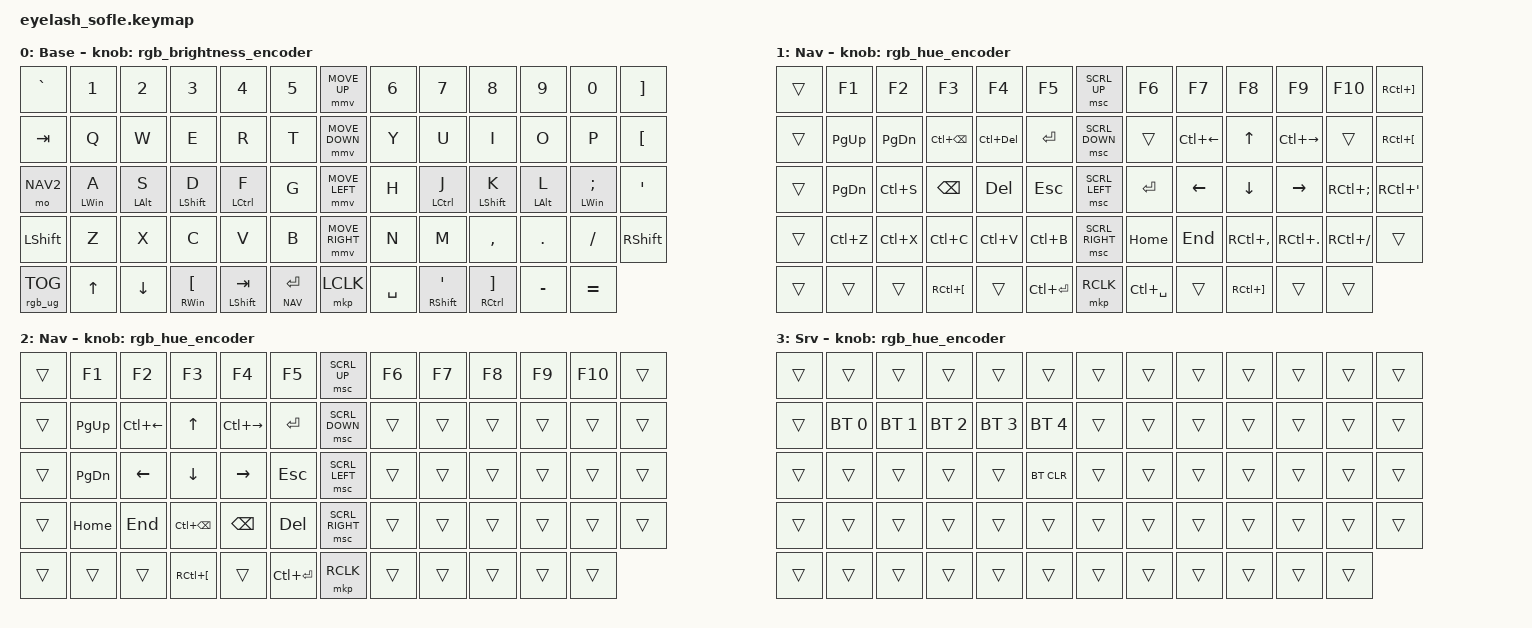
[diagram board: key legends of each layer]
#define ZMK_POINTING_DEFAULT_MOVE_VAL 1200  // 600
#define ZMK_POINTING_DEFAULT_SCRL_VAL 25   // 10
#define ___ &trans
#define BASE 0
#define NAV 1
#define NAV2 2
#define SRV 3

#include <input/processors.dtsi>
#include <zephyr/dt-bindings/input/input-event-codes.h>
#include <behaviors.dtsi>
#include <dt-bindings/zmk/bt.h>
#include <dt-bindings/zmk/ext_power.h>
#include <dt-bindings/zmk/keys.h>
#include <dt-bindings/zmk/pointing.h>
#include <dt-bindings/zmk/rgb.h>
#include <dt-bindings/zmk/outputs.h>


&mmv_input_listener { input-processors = <&zip_xy_scaler 2 1>; };

&msc_input_listener { input-processors = <&zip_scroll_scaler 2 1>; };

&msc {
    acceleration-exponent = <1>;      // 0
    time-to-max-speed-ms = <700>;     // 300
    delay-ms = <0>;                   // 0
};

&mmv {
    time-to-max-speed-ms = <700>;
    acceleration-exponent = <2>;
    trigger-period-ms = <8>;
};


/ {
    rgb_brightness_encoder: rgb_brightness_encoder {
        compatible = "zmk,behavior-sensor-rotate";
        #sensor-binding-cells = <0>;
        bindings = <&rgb_ug RGB_BRI>, <&rgb_ug RGB_BRD>;
    };
    rgb_hue_encoder: rgb_hue_encoder {
        compatible = "zmk,behavior-sensor-rotate";
        #sensor-binding-cells = <0>;
        bindings = <&rgb_ug RGB_HUI>, <&rgb_ug RGB_HUD>;
    };

    macros {
        /* #include "macros.dtsi" */

        #define MACRO(NAME, BINDINGS) \
          macro_##NAME: macro_##NAME { \
              compatible = "zmk,behavior-macro"; \
              #binding-cells = <0>; \
              wait-ms = <0>; \
              tap-ms = <10>; \
              bindings = <BINDINGS>; \
          };

        // MACRO(c_able    , &kp A &kp B &kp L &kp E)
        // MACRO(c_ance    , &kp A &kp N &kp C &kp E)
        // MACRO(c_ate     , &kp A &kp T &kp E)
        // MACRO(c_age     , &kp A &kp G &kp E)
        // MACRO(c_macro   , &kp M &kp A &kp C &kp R &kp O)
        // MACRO(c_anti    , &kp A &kp N &kp T &kp I)
        // MACRO(c_auto    , &kp A &kp U &kp T &kp O)
        // MACRO(c_ible    , &kp I &kp B &kp L &kp E)
        // MACRO(c_circum  , &kp C &kp I &kp R &kp C &kp U &kp M)
        // MACRO(c_com     , &kp C &kp O &kp M)
        // MACRO(c_con     , &kp C &kp O &kp N)
        // MACRO(c_contra  , &kp C &kp O &kp N &kp T &kp R &kp A)
        // MACRO(c_hood    , &kp H &kp O &kp O &kp D)
        // MACRO(c_dis     , &kp D &kp I &kp S)
        // MACRO(c_ward    , &kp W &kp A &kp R &kp D)
        // MACRO(c_extra   , &kp E &kp X &kp T &kp R &kp A)
        // MACRO(c_hetero  , &kp H &kp E &kp T &kp E &kp R &kp O)
        // MACRO(c_ize     , &kp I &kp Z &kp E)
        // MACRO(c_ence    , &kp E &kp N &kp C &kp E)
        // MACRO(c_pre     , &kp P &kp R &kp E)
        // MACRO(c_ery     , &kp E &kp R &kp Y)
        // MACRO(c_ise     , &kp I &kp S &kp E)
        // MACRO(c_tele    , &kp T &kp E &kp L &kp E)
        // MACRO(c_wise    , &kp W &kp I &kp S &kp E)
        MACRO(c_the     , &kp T &kp H &kp E &kp SPACE)
        // MACRO(c_ful     , &kp F &kp U &kp L)
        MACRO(c_for     , &kp F &kp O &kp R &kp SPACE)
        MACRO(c_ing     , &kp I &kp N &kp G &kp SPACE)
        // MACRO(c_homo    , &kp H &kp O &kp M &kp O)
        // MACRO(c_hyper   , &kp H &kp Y &kp P &kp E &kp R)
        // MACRO(c_micro   , &kp M &kp I &kp C &kp R &kp O)
        // MACRO(c_inter   , &kp I &kp N &kp T &kp E &kp R)
        // MACRO(c_intro   , &kp I &kp N &kp T &kp R &kp O)
        // MACRO(c_ist     , &kp I &kp S &kp T)
        // MACRO(c_ity     , &kp I &kp T &kp Y)
        // MACRO(c_ive     , &kp I &kp V &kp E)
        // MACRO(c_less    , &kp L &kp E &kp S &kp S)
        // MACRO(c_mono    , &kp M &kp O &kp N &kp O)
        // MACRO(c_ment    , &kp M &kp E &kp N &kp T)
        // MACRO(c_sym     , &kp S &kp Y &kp M)
        // MACRO(c_omni    , &kp O &kp M &kp N &kp I)
        // MACRO(c_sion    , &kp S &kp I &kp O &kp N)
        // MACRO(c_tion    , &kp T &kp I &kp O &kp N)
        // MACRO(c_uni     , &kp U &kp N &kp I)
        // MACRO(c_pro     , &kp P &kp R &kp O)
        // MACRO(c_ous     , &kp O &kp U &kp S)
        // MACRO(c_ship    , &kp S &kp H &kp I &kp P)
        // MACRO(c_post    , &kp P &kp O &kp S &kp T)
        // MACRO(c_trans   , &kp T &kp R &kp A &kp N &kp S)
        // MACRO(c_ure     , &kp U &kp R &kp E)
        // MACRO(c_sub     , &kp S &kp U &kp B)
        // MACRO(c_syn     , &kp S &kp Y &kp N)

        nav_ctrl_alt: nav_ctrl_alt {
            compatible = "zmk,behavior-macro";
            #binding-cells = <0>;
            wait-ms = <0>;
            tap-ms = <0>;
            bindings
                = <&macro_press &mo NAV &kp LCTRL &kp LALT>
                , <&macro_pause_for_release>
                , <&macro_release &mo NAV &kp LCTRL &kp LALT>
                ;
        };
    };

    behaviors {
        // there's also mod-tap &mt
        // also see: https://zmk.dev/docs/keymaps/behaviors/hold-tap?examples=home_row_mods
        hm: homerow_mods {
          compatible = "zmk,behavior-hold-tap";
          label = "HOMEROW_MODS";
          bindings = <&kp>, <&kp>;
          #binding-cells = <2>;
          tapping-term-ms = <200>;
          quick-tap-ms = <180>;
          flavor = "balanced";
          // flavor = "tap-preferred";
        };
        hml: home_row_mod_left {
            compatible = "zmk,behavior-hold-tap";
            #binding-cells = <2>;
            flavor = "balanced";
            require-prior-idle-ms = <150>;
            tapping-term-ms = <280>;
            quick-tap-ms = <175>;
            bindings = <&kp>, <&kp>;
            hold-trigger-key-positions = <
                7 8 9 10 11 12          // right number row
                20 21 22 23 24 25       // right top row
                33 34 35 36 37 38       // right home row
                46 47 48 49 50 51       // right bottom row
                59 60 61 62 63          // right thumb keys
                53 54 55 56 57          // left thumb keys
            >;
            hold-trigger-on-release;
        };
        hmlc: home_row_mod_left_ctrl {
            compatible = "zmk,behavior-hold-tap";
            #binding-cells = <2>;
            flavor = "balanced";
            require-prior-idle-ms = <150>;
            tapping-term-ms = <280>;
            quick-tap-ms = <175>;
            bindings = <&kp>, <&kp>;
            hold-trigger-key-positions = <
                7 8 9 10 11 12             // right number row
                14 20 21 22 23 24 25       // right top row + w
                27 33 34 35 36 37 38       // right home row + s
                40 41 42 46 47 48 49 50 51 // right bottom row + zxc
                59 60 61 62 63             // right thumb keys
                53 54 55 56 57             // left thumb keys
            >;
            hold-trigger-on-release;
        };
        hmr: home_row_mod_right {
            compatible = "zmk,behavior-hold-tap";
            #binding-cells = <2>;
            flavor = "balanced";
            require-prior-idle-ms = <150>;
            tapping-term-ms = <280>;
            quick-tap-ms = <175>;
            bindings = <&kp>, <&kp>;
            hold-trigger-key-positions = <
                0 1 2 3 4 5            // left number row
                13 14 15 16 17 18      // left top row
                26 27 28 29 30 31      // left home row
                39 40 41 42 43 44      // left bottom row
                53 54 55 56 57         // left thumb keys
                59 60 61 62 63         // right thumb keys
            >;
            hold-trigger-on-release;
        };
          
        // layer-tap q?? there's a standard &lt, do I need my own?
        ltq: ltq {
            compatible = "zmk,behavior-hold-tap";
            label = "LTQ";
            bindings = <&mo>, <&kp>;

            #binding-cells = <2>;
            tapping-term-ms = <200>;
            quick-tap-ms = <180>;
        };

        scroll_encoder: scroll_encoder {
            compatible = "zmk,behavior-sensor-rotate";
            #sensor-binding-cells = <0>;
            bindings = <&msc SCRL_UP>, <&msc SCRL_DOWN>;
            tap-ms = <100>;
        };
    };

    combos {
        compatible = "zmk,combos";
        #include "key_labels.dtsi"
        /* #include "combos.dtsi" */

        /*                          60 KEY MATRIX / LAYOUT MAPPING
        ╭────────────────────────────╮              ╭────╮      ╭────────────────────────────╮
        │  0   1   2   3   4   5     │          ╭───╯  6 ╰───╮  │      7   8   9  10  11  12 │
        │ 13  14  15  16  17  18     │  ╭────╮  │ 32  58  45 │  │     20  21  22  23  24  25 │
        │ 26  27  28  29  30  31     │  │ 52 │  ╰───╮ 19 ╭───╯  │     33  34  35  36  37  38 │
        │ 39  40  41  42  43  44     │  ╰────╯      ╰────╯      │     46  47  48  49  50  51 │
        ╰───────╮ 53  54  55  56  57 │                          │ 59  60  61  62  63 ╭───────╯
                ╰────────────────────╯                          ╰────────────────────╯

        ╭────────────────────────────╮              ╭─────╮     ╭─────────────────────────────╮
        │ LN5 LN4 LN3 LN2 LN1 LN0    │          ╭───╯ JS0 ╰───╮ │     RN0 RN1 RN2 RN3 RN4 RN5 │
        │ LT5 LT4 LT3 LT2 LT1 LT0    │ ╭─────╮  │ JS1 JS2 JS3 │ │     RT0 RT1 RT2 RT3 RT4 RT5 │
        │ LM5 LM4 LM3 LM2 LM1 LM0    │ │ LEC │  ╰───╮ JS4 ╭───╯ │     RM0 RM1 RM2 RM3 RM4 RM5 │
        │ LB5 LB4 LB3 LB2 LB1 LB0    │ ╰─────╯      ╰─────╯     │     RB0 RB1 RB2 RB3 RB4 RB5 │
        ╰───────╮ LH4 LH3 LH2 LH1 LH0│                          │ RH0 RH1 RH2 RH3 RH4 ╭───────╯
                ╰────────────────────╯                          ╰─────────────────────╯
        */
        #define LCOMBO(NAME, BINDINGS, KEYPOS, LAYER) \
          combo_##NAME##LAYER { \
            timeout-ms = <100>; \
            bindings = <BINDINGS>; \
            key-positions = <KEYPOS>; \
            layers = <LAYER>; \
          };

        #define COMBO(NAME, BINDINGS, KEYPOS) \
          combo_##NAME { \
            timeout-ms = <100>; \
            bindings = <BINDINGS>; \
            key-positions = <KEYPOS>; \
            layers = <BASE>; \
          };

        /* Only vertical adjacent key pairs are used since horizontal adjacent pairs interfere with rollups. */

        /* Main layer */
        COMBO(glt4,        &kp N1,         GLT4)
        COMBO(glt3,        &kp N2,         GLT3)
        COMBO(glt2,        &kp N3,         GLT2)
        COMBO(glt1,        &kp N4,         GLT1)
        COMBO(glt0,        &kp N5,         GLT0)

        COMBO(grt0,        &kp N6,         GRT0)
        COMBO(grt1,        &kp N7,         GRT1)
        COMBO(grt2,        &kp N8,         GRT2)
        COMBO(grt3,        &kp N9,         GRT3)
        COMBO(grt4,        &kp N0,         GRT4)

        COMBO(glb4,        &kp BSLH,       GLB4)
        COMBO(glb3,        &kp PLUS,       GLB3)
        COMBO(glb2,        &kp LBKT,       GLB2)
        COMBO(glb1,        &kp RBKT,       GLB1)
        COMBO(glb0,        &kp UNDER,      GLB0)

        COMBO(grb0,        &kp GRAVE,      GRB0)
        COMBO(grb1,        &kp MINUS,      GRB1)
        COMBO(grb2,        &kp EQUAL,      GRB2)
        COMBO(grb3,        &mkp MB4,       GRB3) // mouse back
        COMBO(grb4,        &mkp MB5,       GRB4) // mouse forward

        COMBO(l_srv,      &mo SRV,        LH0 RH0)
        COMBO(ralt1,      &kp RALT,       RH0 RH2)
        COMBO(ralt2,      &kp RALT,       LH0 LH2)

        COMBO(cm_left,    &nav_ctrl_alt,  LH1 LH2)
        COMBO(cm_right,   &nav_ctrl_alt,  RH1 RH2)

        /* Navigation layer */
        /* Here it's safe to use horizontal pairs, but not on the home row. */
        LCOMBO(nmb4,         &mkp MB4,    LM0 LM1, NAV)
        LCOMBO(nmb5,         &mkp MB5,    LT0 LT1, NAV)

        LCOMBO(nmb1,         &mkp MB1,    RM0 RM1, NAV)
        LCOMBO(nmb2,         &mkp MB2,    RT0 RT1, NAV)
        LCOMBO(nmb3,         &mkp MB3,    RB0 RB1, NAV)

        LCOMBO(nglt4,        &kp F1,      GLT4, NAV)
        LCOMBO(nglt3,        &kp F2,      GLT3, NAV)
        LCOMBO(nglt2,        &kp F3,      GLT2, NAV)
        LCOMBO(nglt1,        &kp F4,      GLT1, NAV)
        LCOMBO(nglt0,        &kp F5,      GLT0, NAV)

        LCOMBO(ngrt0,        &kp F6,      GRT0, NAV)
        LCOMBO(ngrt1,        &kp F7,      GRT1, NAV)
        LCOMBO(ngrt2,        &kp F8,      GRT2, NAV)
        LCOMBO(ngrt3,        &kp F9,      GRT3, NAV)
        LCOMBO(ngrt4,        &kp F10,     GRT4, NAV)

        // LCOMBO(ins,       &kp INSERT,     GLB4, NAV)
        // LCOMBO(,     &kp PSCRN,   GLB3,   NAV)
        LCOMBO(scrolllock,   &kp SCROLLLOCK, GLB2, NAV)
        LCOMBO(insert,       &kp INSERT,     GLB1, NAV)
        LCOMBO(pscrn,        &kp PSCRN,      GLB0, NAV)

        // LCOMBO(f6,        &kp F6,          GRB0, NAV)
        LCOMBO(ngrb1,        &kp RC(MINUS),   GRB1, NAV)
        // LCOMBO(f8,        &kp F8,          GRB2, NAV)
        // LCOMBO(ngrb3,     &kp F9,          GRB3, NAV)
        // LCOMBO(ngrb4,     &kp F10,         GRB4, NAV)

        // LCOMBO(mb_mdl,    &mkp MB3,       GRB0, NAV)
        // LCOMBO(minus,     &kp RC(MINUS),  GRB1, NAV)
        // LCOMBO(equal,     &kp RC(EQUAL),  GRB2, NAV)
        // LCOMBO(mb_back,   &mkp MB4,       GRB3, NAV)
        // LCOMBO(mb_fwd,    &mkp MB5,       GRB4, NAV)

        LCOMBO(l_srv2,    &mo SRV,        LH0 RH0, NAV)

        /* /\* Word shortcuts: English prefixes and suffixes*\/ */
        /* COMBO(c_able    , &macro_c_able    , RH0 LM4 LB0)  // ab */
        /* COMBO(c_ance    , &macro_c_ance    , RH0 LM4 LB2)  // ac */
        /* COMBO(c_ate     , &macro_c_ate     , RH0 LM4 LT2)  // ae */
        /* COMBO(c_age     , &macro_c_age     , RH0 LM4 LM0)  // ag */
        /* COMBO(c_macro   , &macro_c_macro   , RH0 LM4 RB1)  // am */
        /* COMBO(c_anti    , &macro_c_anti    , RH0 LM4 LT0)  // at */
        /* COMBO(c_auto    , &macro_c_auto    , RH0 LM4 RT1)  // au */
        /* COMBO(c_ible    , &macro_c_ible    , RH0 LB0 RT2)  // bi */
        /* COMBO(c_circum  , &macro_c_circum  , RH0 LB2 RT2)  // ci */
        /* COMBO(c_com     , &macro_c_com     , RH0 LB2 RB1)  // cm */
        /* COMBO(c_con     , &macro_c_con     , RH0 LB2 RB0)  // cn */
        /* COMBO(c_contra  , &macro_c_contra  , RH0 LB2 LT0)  // ct */
        /* COMBO(c_hood    , &macro_c_hood    , RH0 LM2 RM0)  // dh */
        /* COMBO(c_dis     , &macro_c_dis     , RH0 LM2 RT2)  // di */
        /* COMBO(c_ward    , &macro_c_ward    , RH0 LM2 LT3)  // dw */
        /* COMBO(c_extra   , &macro_c_extra   , RH0 LM2 LB3)  // dx */
        /* COMBO(c_hetero  , &macro_c_hetero  , RH0 LT2 RM0)  // eh */
        /* COMBO(c_ize     , &macro_c_ize     , RH0 LT2 RT2)  // ei */
        /* COMBO(c_ence    , &macro_c_ence    , RH0 LT2 RB0)  // en */
        /* COMBO(c_pre     , &macro_c_pre     , RH0 LT2 RT4)  // ep */
        /* COMBO(c_ery     , &macro_c_ery     , RH0 LT2 LT1)  // er */
        /* COMBO(c_ise     , &macro_c_ise     , RH0 LT2 LM3)  // es */
        /* COMBO(c_tele    , &macro_c_tele    , RH0 LT2 LT0)  // et */
        /* COMBO(c_wise    , &macro_c_wise    , RH0 LT2 LT3)  // ew */
        COMBO(c_the     , &macro_c_the     , LH2 LB4)  // z
        /* COMBO(c_ful     , &macro_c_ful     , RH0 LM1 RM3)  // fl */
        COMBO(c_for     , &macro_c_for     , LH2 LM1)  // f
        COMBO(c_ing     , &macro_c_ing     , LH2 LM0)  // g
        /* COMBO(c_homo    , &macro_c_homo    , RH0 RM0 RT3)  // ho */
        /* COMBO(c_hyper   , &macro_c_hyper   , RH0 RM0 LT1)  // hr */
        /* COMBO(c_micro   , &macro_c_micro   , RH0 RT2 RB1)  // im */
        /* COMBO(c_inter   , &macro_c_inter   , RH0 RT2 RB0)  // in */
        /* COMBO(c_intro   , &macro_c_intro   , RH0 RT2 RT3)  // io */
        /* COMBO(c_ist     , &macro_c_ist     , RH0 RT2 LM3)  // is */
        /* COMBO(c_ity     , &macro_c_ity     , RH0 RT2 LT0)  // it */
        /* COMBO(c_ive     , &macro_c_ive     , RH0 RT2 LB1)  // iv */
        /* COMBO(c_less    , &macro_c_less    , RH0 RM3 LM3)  // ls */
        /* COMBO(c_mono    , &macro_c_mono    , RH0 RB1 RT3)  // mo */
        /* COMBO(c_ment    , &macro_c_ment    , RH0 RB1 LT0)  // mt */
        /* COMBO(c_sym     , &macro_c_sym     , RH0 RB1 RT0)  // my */
        /* COMBO(c_omni    , &macro_c_omni    , RH0 RB0 RT3)  // no */
        /* COMBO(c_sion    , &macro_c_sion    , RH0 RB0 LM3)  // ns */
        /* COMBO(c_tion    , &macro_c_tion    , RH0 RB0 LT0)  // nt */
        /* COMBO(c_uni     , &macro_c_uni     , RH0 RB0 RT1)  // nu */
        /* COMBO(c_pro     , &macro_c_pro     , RH0 RT3 RT4)  // op */
        /* COMBO(c_ous     , &macro_c_ous     , RH0 RT3 LM3)  // os */
        /* COMBO(c_ship    , &macro_c_ship    , RH0 RT4 LM3)  // ps */
        /* COMBO(c_post    , &macro_c_post    , RH0 RT4 LT0)  // pt */
        /* COMBO(c_trans   , &macro_c_trans   , RH0 LT1 LT0)  // rt */
        /* COMBO(c_ure     , &macro_c_ure     , RH0 LT1 RT1)  // ru */
        /* COMBO(c_sub     , &macro_c_sub     , RH0 LM3 RT1)  // su */
        /* COMBO(c_syn     , &macro_c_syn     , RH0 LM3 RT0)  // sy */
    };

    keymap {
        compatible = "zmk,keymap";
        // Layer 0: autonomous layer that works on all dumb devices like android phones; home row mods and nav layer is done by zmk
        Base {
            bindings = <
/*╭0────────────1─────────────2─────────────3─────────────4─────────────5────────╮   ╭6────────╮   ╭7─────────────8─────────────9─────────────10────────────11────────────12───────╮     */
   &kp GRAVE       &kp N1      &kp N2        &kp N3       &kp N4        &kp N5        &mmv MOVE_UP    &kp N6       &kp N7         &kp N8      &kp N9        &kp N0         &kp RBKT
   &kp TAB         &kp Q       &kp W         &kp E        &kp R         &kp T         &mmv MOVE_DOWN  &kp Y        &kp U          &kp I       &kp O         &kp P          &kp LBKT
   &mo NAV2        &hm LWIN A  &hml LALT S   &hml LSHFT D &hmlc LCTRL F &kp G         &mmv MOVE_LEFT  &kp H        &hmr LCTRL J   &hmr LSHFT K &hmr LALT L  &hmr LWIN SEMI  &kp APOS
   &kp LSHFT       &kp Z       &kp X         &kp C        &kp V         &kp B         &mmv MOVE_RIGHT &kp N        &kp M          &kp COMMA   &kp DOT       &kp FSLH       &kp RSHFT
   &rgb_ug RGB_TOG &kp UP      &kp DOWN      &hm RWIN LBKT &hm LSHIFT TAB &ltq NAV ENTER &mkp LCLK    &kp SPACE    &hm RSHFT APOS &hm RCTRL RBKT &kp MINUS  &kp EQUAL
/*             ╰53────────────54────────────55────────────56────────────57───────╯   ╰58───────╯   ╰59────────────60────────────61────────────62────────────63──────────╯                */
            >;
            sensor-bindings = <&rgb_brightness_encoder>;
            display-name = "Base";
        };

        // Layer 1: Navigation
        // (On my linux setup right control switches level 3 shift, where punctuation signs work identically on every locale.)
        Nav {
            bindings = <
/*╭0────────────1─────────────2─────────────3─────────────4─────────────5────────╮   ╭6────────╮   ╭7─────────────8─────────────9─────────────10────────────11────────────12───────╮     */
   ___          &kp F1        &kp F2        &kp F3        &kp F4        &kp F5        &msc SCRL_UP    &kp F6      &kp F7        &kp F8        &kp F9        &kp F10       &kp RC(RBKT)
   ___          &kp PG_UP     &kp PG_DN     &kp LC(BSPC)  &kp LC(DEL)   &kp ENTER     &msc SCRL_DOWN  ___         &kp LC(LEFT)  &kp UP        &kp LC(RIGHT) ___           &kp RC(LBKT)
   ___          &kp PG_DN     &kp LC(S)     &kp BSPC      &kp DEL       &kp ESC       &msc SCRL_LEFT  &kp ENTER   &kp LEFT      &kp DOWN      &kp RIGHT     &kp RC(SEMI)  &kp RC(APOS)
   ___          &kp LC(Z)     &kp LC(X)     &kp LC(C)     &kp LC(V)     &kp LC(B)     &msc SCRL_RIGHT &kp HOME    &kp END       &kp RC(COMMA) &kp RC(DOT)   &kp RC(FSLH)  ___
   ___          ___           ___           &kp RC(LBKT)  ___           &kp LC(ENTER) &mkp RCLK       &kp LC(SPACE) ___         &kp RC(RBKT)  ___           ___
/*             ╰53────────────54────────────55────────────56────────────57───────╯   ╰58───────╯   ╰59────────────60────────────61────────────62────────────63──────────╯                */
            >;
            sensor-bindings = <&rgb_hue_encoder>;
            display-name = "Nav";
        };

        // Layer 2: Navigation 2
        // (On my linux setup right control switches level 3 shift, where punctuation signs work identically on every locale.)
        Nav2 {
            bindings = <
/*╭0────────────1─────────────2─────────────3─────────────4─────────────5────────╮   ╭6────────╮   ╭7─────────────8─────────────9─────────────10────────────11────────────12───────╮     */
   ___          &kp F1        &kp F2        &kp F3        &kp F4        &kp F5        &msc SCRL_UP    &kp F6      &kp F7        &kp F8        &kp F9        &kp F10       ___
   ___          &kp PG_UP     &kp LC(LEFT)  &kp UP        &kp LC(RIGHT) &kp ENTER     &msc SCRL_DOWN  ___         ___           ___           ___           ___           ___
   ___          &kp PG_DN     &kp LEFT      &kp DOWN      &kp RIGHT     &kp ESC       &msc SCRL_LEFT  ___         ___           ___           ___           ___           ___
   ___          &kp HOME      &kp END       &kp LC(BSPC)  &kp BSPC      &kp DEL       &msc SCRL_RIGHT ___         ___           ___           ___           ___           ___
   ___          ___           ___           &kp RC(LBKT)  ___           &kp LC(ENTER) &mkp RCLK       ___         ___           ___           ___           ___              
/*             ╰53────────────54────────────55────────────56────────────57───────╯   ╰58───────╯   ╰59────────────60────────────61────────────62────────────63──────────╯                */
            >;
            sensor-bindings = <&rgb_hue_encoder>;
            display-name = "Nav";
        };

        // Layer 2: Service. Bluetooth, colors.
        Srv {
            bindings = <
/*╭0────────────1─────────────2─────────────3─────────────4─────────────5────────╮   ╭6────────╮   ╭7─────────────8─────────────9─────────────10────────────11────────────12───────╮     */
   ___          ___           ___           ___           ___           ___           ___           ___           ___           ___           ___           ___           ___
   ___          &bt BT_SEL 0  &bt BT_SEL 1  &bt BT_SEL 2  &bt BT_SEL 3  &bt BT_SEL 4  ___           ___           ___           ___           ___           ___           ___
   ___          ___           ___           ___           ___           &bt BT_CLR    ___           ___           ___           ___           ___           ___           ___
   ___          ___           ___           ___           ___           ___           ___           ___           ___           ___           ___           ___           ___
   ___          ___           ___           ___           ___           ___           ___           ___           ___           ___           ___           ___
/*             ╰53────────────54────────────55────────────56────────────57───────╯   ╰58───────╯   ╰59────────────60────────────61────────────62────────────63──────────╯                */
            >;
            sensor-bindings = <&rgb_hue_encoder>;
            display-name = "Srv";
        };
    };
};
